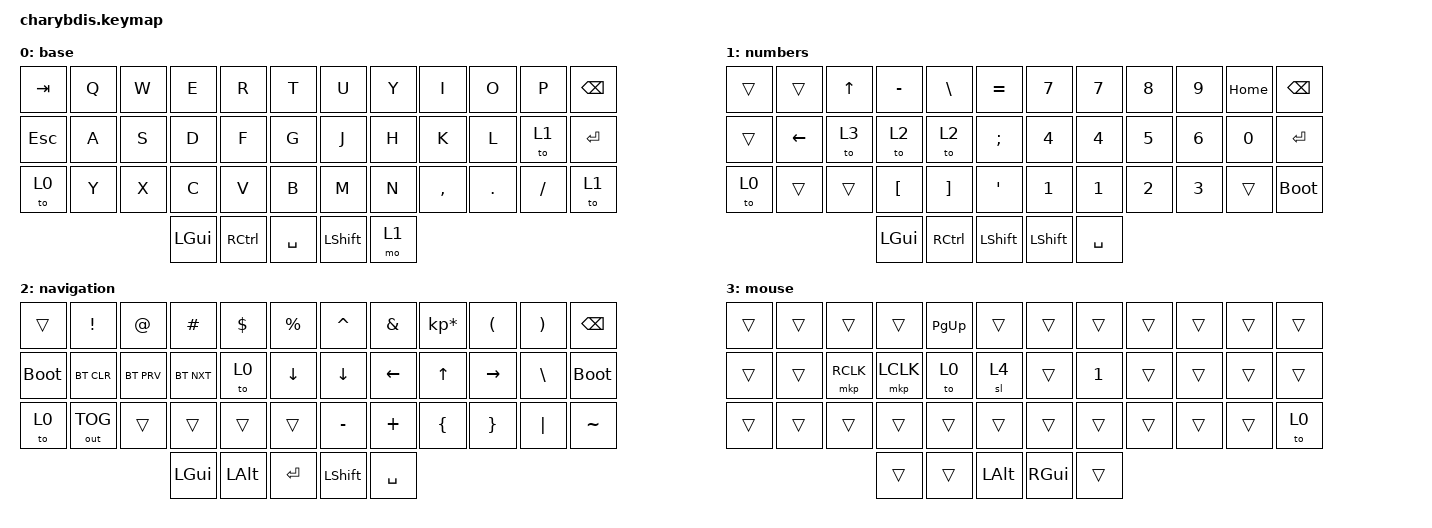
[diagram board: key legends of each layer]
#include <dt-bindings/zmk/mouse.h>
#include <behaviors.dtsi>
#include <dt-bindings/zmk/bt.h>
#include <dt-bindings/zmk/keys.h>
#include <dt-bindings/zmk/outputs.h>


&lt {
    tapping-term-ms = <240>;
    flavor = "balanced";
    quick-tap-ms = <150>;
};

/ {
    keymap {
        compatible = "zmk,keymap";

        Base {
            label = "base";
            bindings = <
&kp TAB  &kp Q  &kp W  &kp E     &kp R              &kp T        &kp U           &kp Y  &kp I      &kp O    &kp P     &kp BSPC
&kp ESC  &kp A  &kp S  &kp D     &kp F              &kp G        &kp J           &kp H  &kp K      &kp L    &to 1     &kp ENTER
&to 0    &kp Y  &kp X  &kp C     &kp V              &kp B        &kp M           &kp N  &kp COMMA  &kp DOT  &kp FSLH  &to 1
                       &kp LGUI  &kp RIGHT_CONTROL  &kp SPACE    &kp LEFT_SHIFT  &mo 1
            >;

            /*  trackball-bindings = <&tmv_coarse>;*/
        };

        Lower {
            label = "numbers";
            bindings = <
&trans  &trans    &kp UP  &kp MINUS  &kp BSLH           &kp EQUAL         &kp N7     &kp N7        &kp N8  &kp N9  &kp HOME  &kp BSPC
&trans  &kp LEFT  &to 3   &to 2      &to 2              &kp SEMI          &kp N4     &kp NUMBER_4  &kp N5  &kp N6  &kp N0    &kp ENTER
&to 0   &trans    &trans  &kp LBKT   &kp RBKT           &kp SQT           &kp N1     &kp NUMBER_1  &kp N2  &kp N3  &trans    &bootloader
                          &kp LGUI   &kp RIGHT_CONTROL  &kp LEFT_SHIFT    &kp LSHFT  &kp SPACE
            >;
        };

        Raise {
            label = "navigation";
            bindings = <
&trans       &kp EXCL      &kp AT      &kp HASH    &kp DLLR  &kp PRCNT    &kp CARET  &kp AMPS   &kp KP_MULTIPLY  &kp LPAR   &kp RPAR  &kp BSPC
&bootloader  &bt BT_CLR    &bt BT_PRV  &bt BT_NXT  &to 0     &kp DOWN     &kp DOWN   &kp LEFT   &kp UP           &kp RIGHT  &kp BSLH  &bootloader
&to 0        &out OUT_TOG  &trans      &trans      &trans    &trans       &kp MINUS  &kp PLUS   &kp LBRC         &kp RBRC   &kp PIPE  &kp TILDE
                                       &kp LGUI    &kp LALT  &kp ENTER    &kp LSHFT  &kp SPACE
            >;
        };

        Mouse {
            label = "mouse";
            bindings = <
&trans  &trans  &trans     &trans     &kp PG_UP  &trans          &trans    &trans  &trans  &trans  &trans  &trans
&trans  &trans  &mkp RCLK  &mkp LCLK  &to 0      &sl 4           &trans    &kp N1  &trans  &trans  &trans  &trans
&trans  &trans  &trans     &trans     &trans     &trans          &trans    &trans  &trans  &trans  &trans  &to 0
                           &trans     &trans     &kp LEFT_ALT    &kp RGUI  &trans
            >;
        };
    };
};

